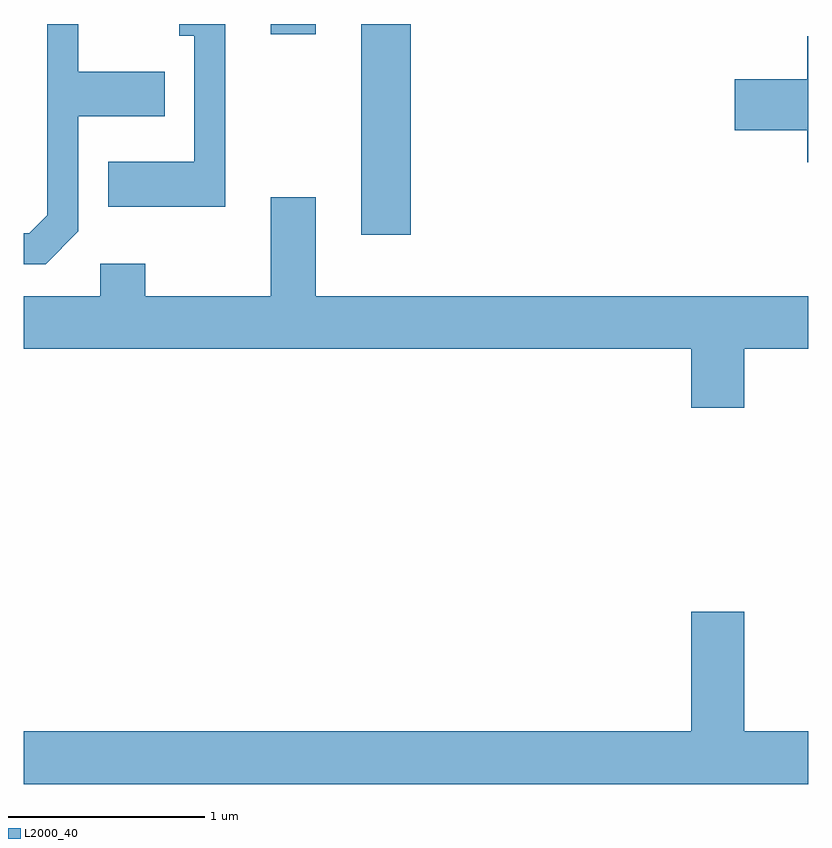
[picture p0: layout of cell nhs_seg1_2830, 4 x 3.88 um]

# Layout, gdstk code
import gdstk
lib = gdstk.Library(unit=1e-6, precision=1e-09)
def R(c, l, rs):  # rectangles x0, y0, x1, y1
    for r in rs: c.add(gdstk.rectangle(r[:2], r[2:], *l))
def P(c, l, *ps):  # polygons
    for p in ps: c.add(gdstk.Polygon(p, *l))
L2000_40 = (2000, 40)

nhs_seg1_2830 = lib.new_cell('nhs_seg1_2830')
R(nhs_seg1_2830, L2000_40, [(273.331,864.636,273.584,865.712), (272.871,865.661,273.099,865.712)])
P(nhs_seg1_2830, L2000_40, [(271.889,864.654),(271.889,865.241),(272.329,865.241),(272.329,865.469),(271.889,865.469),(271.889,865.712),(271.731,865.712),(271.731,864.737),(271.639,864.644),(271.611,864.644),(271.611,864.486),(271.722,864.486)],
  [(272.639,865.712),(272.403,865.712),(272.403,865.651),(272.481,865.651),(272.481,865.009),(272.041,865.009),(272.041,864.781),(272.639,864.781)],
  [(275.611,865.649),(275.606,865.649),(275.606,865.429),(275.236,865.429),(275.236,865.171),(275.606,865.171),(275.606,865.006),(275.611,865.006)],
  [(275.284,864.056),(275.611,864.056),(275.611,864.324),(273.099,864.324),(273.099,864.829),(272.871,864.829),(272.871,864.324),(272.229,864.324),(272.229,864.489),(272.001,864.489),(272.001,864.324),(271.611,864.324),(271.611,864.056),(275.016,864.056),(275.016,863.756),(275.284,863.756)],
  [(275.611,862.104),(275.284,862.104),(275.284,862.714),(275.016,862.714),(275.016,862.104),(271.611,862.104),(271.611,861.836),(275.611,861.836)])

lib.write_gds('nhs_seg1_2830.gds')
